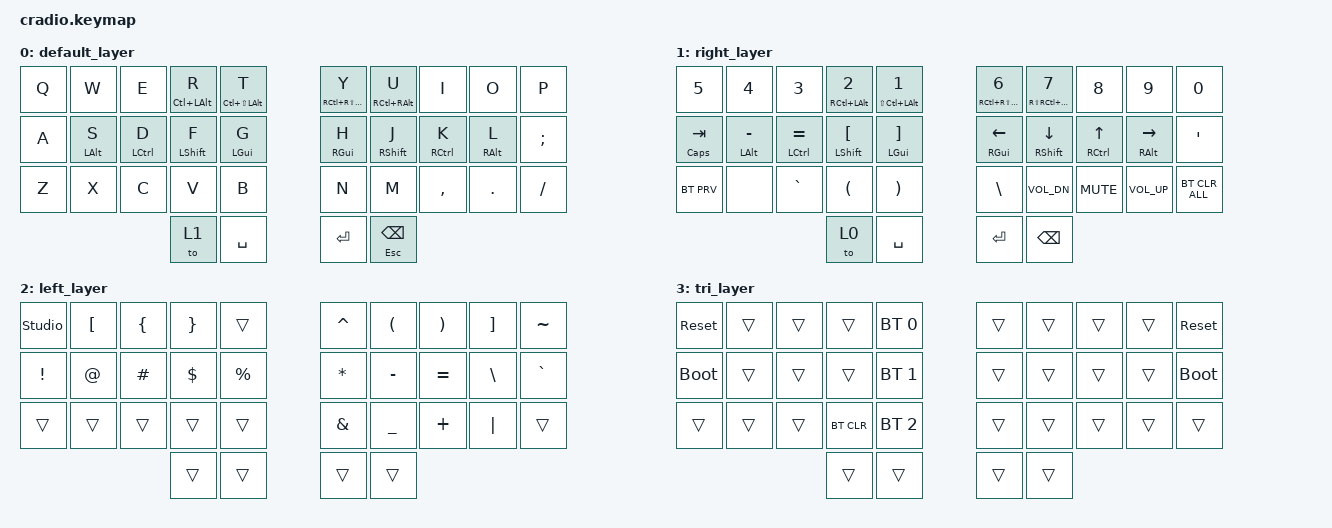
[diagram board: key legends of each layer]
// Copyright (c) 2022 The ZMK Contributors
// SPDX-License-Identifier: MIT

#define ZMK_POINTING_DEFAULT_MOVE_VAL 1500  // default: 600
#define ZMK_POINTING_DEFAULT_SCRL_VAL 20    // default: 10

#include <behaviors.dtsi>
#include <dt-bindings/zmk/bt.h>
#include <dt-bindings/zmk/keys.h>

/ {
    behaviors {
        ht: hold_tap {
            compatible = "zmk,behavior-hold-tap";
            #binding-cells = <2>;
            flavor = "tap-preferred";
            tapping-term-ms = <200>;
            quick-tap-ms = <175>;
            require-prior-idle-ms = <120>;
            bindings = <&kp>, <&kp>;
        };

        td_semic_esc_f12: td_semic_esc_f12 {
            compatible = "zmk,behavior-tap-dance";
            label = "TD_SEMIC_ESC_F12";
            #binding-cells = <0>;
            bindings = <&ht ESCAPE COLON>, <&ht F12 SEMI>;

            tapping-term-ms = <180>;
        };
    };

    conditional_layers {
        compatible = "zmk,conditional-layers";

        tri_layer {
            if-layers = <1 2>;
            then-layer = <3>;
        };
    };

    keymap {
        compatible = "zmk,keymap";

        default_layer {
            bindings = <
&kp Q  &kp W           &kp E        &ht LC(LALT) R    &ht LC(LS(LALT)) T    &ht RC(RS(RALT)) Y  &ht RC(RALT) U     &kp I        &kp O       &kp P
&kp A  &ht LEFT_ALT S  &ht LCTRL D  &ht LEFT_SHIFT F  &ht LEFT_GUI G        &ht RIGHT_GUI H     &ht RIGHT_SHIFT J  &ht RCTRL K  &ht RALT L  &kp SEMI
&kp Z  &kp X           &kp C        &kp V             &kp B                 &kp N               &kp M              &kp COMMA    &kp DOT     &kp FSLH
                                    &to 1             &kp SPACE             &kp RETURN          &ht ESC BSPC
            >;
        };

        right_layer {
            bindings = <
&kp N5        &kp NUMBER_4    &kp NUMBER_3     &ht RC(LALT) NUMBER_2   &ht LS(LC(LALT)) NUMBER_1    &ht RC(RS(RALT)) NUMBER_6  &ht RS(RC(RALT)) N7   &kp N8        &kp N9          &kp N0
&ht CAPS TAB  &ht LALT MINUS  &ht LCTRL EQUAL  &ht LSHFT LEFT_BRACKET  &ht LGUI RIGHT_BRACKET       &ht RGUI LEFT              &ht RIGHT_SHIFT DOWN  &ht RCTRL UP  &ht RALT RIGHT  &kp SINGLE_QUOTE
&bt BT_PRV    &none           &kp GRAVE        &kp LEFT_PARENTHESIS    &kp RIGHT_PARENTHESIS        &kp BACKSLASH              &kp C_VOL_DN          &kp C_MUTE    &kp C_VOL_UP    &bt BT_CLR_ALL
                                               &to 0                   &kp SPACE                    &kp RETURN                 &kp BACKSPACE
            >;
        };

        left_layer {
            bindings = <
&studio_unlock  &kp LBKT  &kp LBRC  &kp RBRC  &trans       &kp CARET  &kp LPAR   &kp RPAR   &kp RBKT  &kp TILDE
&kp EXCL        &kp AT    &kp HASH  &kp DLLR  &kp PRCNT    &kp ASTRK  &kp MINUS  &kp EQUAL  &kp BSLH  &kp GRAVE
&trans          &trans    &trans    &trans    &trans       &kp AMPS   &kp UNDER  &kp PLUS   &kp PIPE  &trans
                                    &trans    &trans       &trans     &trans
            >;
        };

        tri_layer {
            bindings = <
&sys_reset   &trans  &trans  &trans      &bt BT_SEL 0    &trans  &trans  &trans  &trans  &sys_reset
&bootloader  &trans  &trans  &trans      &bt BT_SEL 1    &trans  &trans  &trans  &trans  &bootloader
&trans       &trans  &trans  &bt BT_CLR  &bt BT_SEL 2    &trans  &trans  &trans  &trans  &trans
                             &trans      &trans          &trans  &trans
            >;
        };
    };
};
